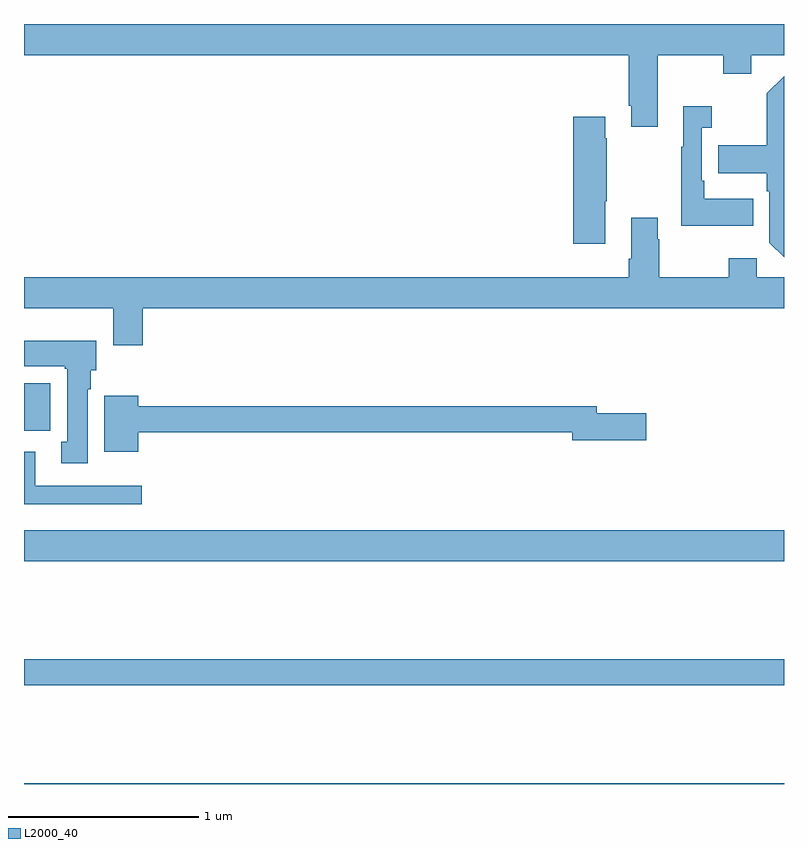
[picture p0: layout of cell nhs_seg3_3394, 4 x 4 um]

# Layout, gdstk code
import gdstk
lib = gdstk.Library(unit=1e-6, precision=1e-09)
def R(c, l, rs):  # rectangles x0, y0, x1, y1
    for r in rs: c.add(gdstk.rectangle(r[:2], r[2:], *l))
def P(c, l, *ps):  # polygons
    for p in ps: c.add(gdstk.Polygon(p, *l))
L2000_40 = (2000, 40)

nhs_seg3_3394 = lib.new_cell('nhs_seg3_3394')
R(nhs_seg3_3394, L2000_40, [(287,710.4,291,710.404), (287,710.92,291,711.056), (287,711.572,291,711.736), (287,712.26,287.139,712.51)])
P(nhs_seg3_3394, L2000_40, [(290.335,714.236),(290.68,714.236),(290.68,714.137),(290.827,714.137),(290.827,714.236),(291,714.236),(291,714.4),(287,714.4),(287,714.236),(290.183,714.236),(290.183,713.971),(290.195,713.971),(290.195,713.859),(290.335,713.859)],
  [(291,714.126),(290.91,714.035),(290.91,713.763),(290.653,713.763),(290.653,713.615),(290.91,713.615),(290.91,713.519),(290.922,713.519),(290.922,713.25),(291,713.172)],
  [(290.837,713.479),(290.581,713.479),(290.581,713.575),(290.568,713.575),(290.568,713.855),(290.62,713.855),(290.62,713.968),(290.471,713.968),(290.471,713.755),(290.46,713.755),(290.46,713.339),(290.837,713.339)],
  [(290.059,713.467),(290.067,713.467),(290.067,713.798),(290.059,713.798),(290.059,713.911),(289.892,713.911),(289.892,713.244),(290.059,713.244)],
  [(287.624,712.904),(291,712.904),(291,713.068),(290.856,713.068),(290.856,713.167),(290.71,713.167),(290.71,713.068),(290.343,713.068),(290.343,713.267),(290.335,713.267),(290.335,713.38),(290.195,713.38),(290.195,713.164),(290.183,713.164),(290.183,713.068),(287,713.068),(287,712.904),(287.471,712.904),(287.471,712.71),(287.624,712.71)],
  [(287.335,712.478),(287.35,712.478),(287.35,712.578),(287.38,712.578),(287.38,712.732),(287,712.732),(287,712.598),(287.215,712.598),(287.215,712.585),(287.228,712.585),(287.228,712.201),(287.195,712.201),(287.195,712.089),(287.335,712.089)],
  [(287.602,712.252),(289.886,712.252),(289.886,712.21),(290.275,712.21),(290.275,712.352),(290.014,712.352),(290.014,712.388),(287.602,712.388),(287.602,712.444),(287.423,712.444),(287.423,712.148),(287.602,712.148)],
  [(287.62,711.969),(287.059,711.969),(287.059,712.15),(287,712.15),(287,711.872),(287.62,711.872)])

lib.write_gds('nhs_seg3_3394.gds')
